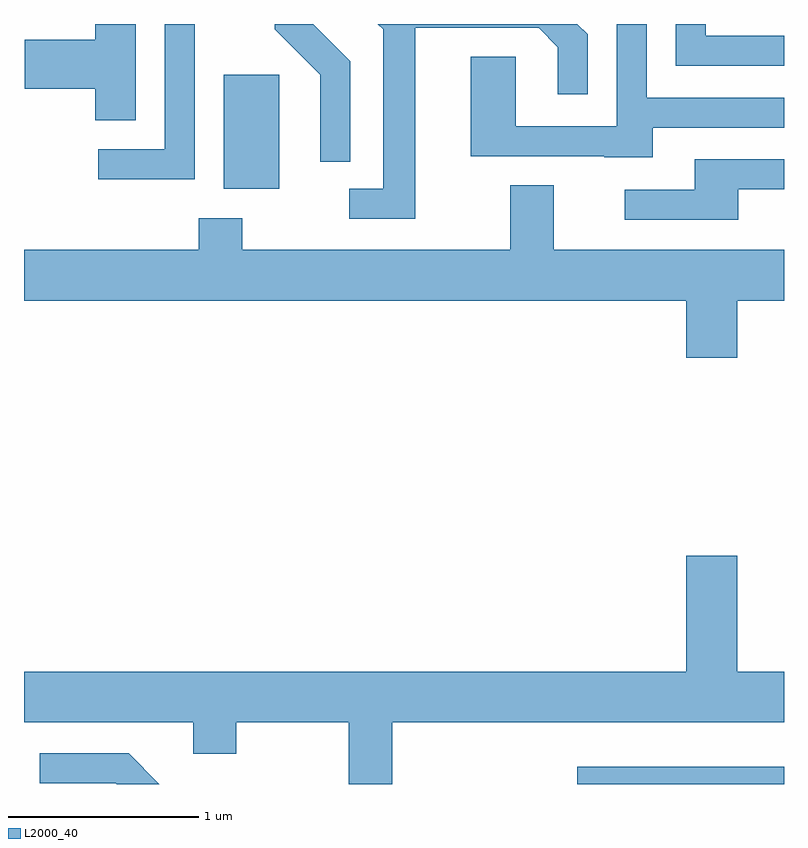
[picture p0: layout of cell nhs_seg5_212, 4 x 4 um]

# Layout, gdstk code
import gdstk
lib = gdstk.Library(unit=1e-6, precision=1e-09)
def R(c, l, rs):  # rectangles x0, y0, x1, y1
    for r in rs: c.add(gdstk.rectangle(r[:2], r[2:], *l))
def P(c, l, *ps):  # polygons
    for p in ps: c.add(gdstk.Polygon(p, *l))
L2000_40 = (2000, 40)

nhs_seg5_212 = lib.new_cell('nhs_seg5_212')
R(nhs_seg5_212, L2000_40, [(194.523,1412.072,195.611,1412.164), (192.661,1415.206,192.954,1415.804)])
P(nhs_seg5_212, L2000_40, [(192.509,1416.072),(192.351,1416.072),(192.351,1415.414),(192.003,1415.414),(192.003,1415.256),(192.509,1415.256)],
  [(193.329,1415.877),(193.134,1416.072),(192.931,1416.072),(192.931,1416.044),(193.171,1415.804),(193.171,1415.348),(193.329,1415.348)],
  [(195.611,1416.009),(195.199,1416.009),(195.199,1416.072),(195.041,1416.072),(195.041,1415.851),(195.611,1415.851)],
  [(193.669,1416.051),(194.319,1416.051),(194.421,1415.949),(194.421,1415.703),(194.579,1415.703),(194.579,1416.017),(194.524,1416.072),(193.473,1416.072),(193.501,1416.044),(193.501,1415.204),(193.323,1415.204),(193.323,1415.046),(193.669,1415.046)],
  [(192.199,1416.072),(191.986,1416.072),(191.986,1415.989),(191.616,1415.989),(191.616,1415.731),(191.986,1415.731),(191.986,1415.566),(192.199,1415.566)],
  [(194.919,1415.526),(195.611,1415.526),(195.611,1415.684),(194.889,1415.684),(194.889,1416.072),(194.731,1416.072),(194.731,1415.534),(194.199,1415.534),(194.199,1415.899),(193.961,1415.899),(193.961,1415.376),(194.665,1415.376),(194.665,1415.371),(194.919,1415.371)],
  [(195.369,1415.201),(195.611,1415.201),(195.611,1415.359),(195.141,1415.359),(195.141,1415.199),(194.773,1415.199),(194.773,1415.041),(195.369,1415.041)],
  [(195.364,1414.616),(195.611,1414.616),(195.611,1414.884),(194.399,1414.884),(194.399,1415.224),(194.171,1415.224),(194.171,1414.884),(192.759,1414.884),(192.759,1415.049),(192.531,1415.049),(192.531,1414.884),(191.611,1414.884),(191.611,1414.616),(195.096,1414.616),(195.096,1414.316),(195.364,1414.316)],
  [(193.549,1412.396),(195.611,1412.396),(195.611,1412.664),(195.364,1412.664),(195.364,1413.274),(195.096,1413.274),(195.096,1412.664),(191.611,1412.664),(191.611,1412.396),(192.501,1412.396),(192.501,1412.231),(192.729,1412.231),(192.729,1412.396),(193.321,1412.396),(193.321,1412.072),(193.549,1412.072)],
  [(192.162,1412.234),(191.693,1412.234),(191.693,1412.076),(192.094,1412.076),(192.098,1412.072),(192.324,1412.072)])

lib.write_gds('nhs_seg5_212.gds')
